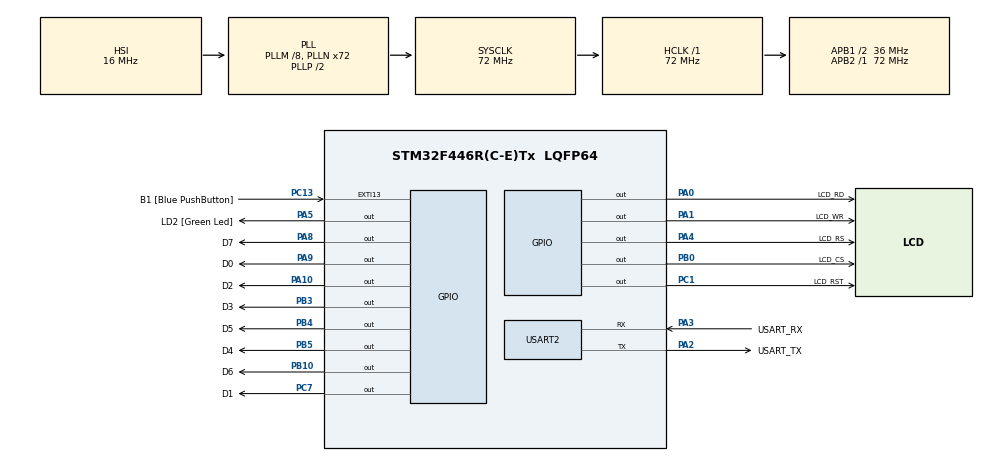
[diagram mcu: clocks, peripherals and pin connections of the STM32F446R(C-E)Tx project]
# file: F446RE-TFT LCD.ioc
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Mcu.Family=STM32F4
Mcu.Name=STM32F446R(C-E)Tx
Mcu.Package=LQFP64
NVIC.PriorityGroup=NVIC_PRIORITYGROUP_0
PA0-WKUP.GPIO_Label=LCD_RD
PA0-WKUP.Signal=GPIO_Output
PA1.GPIO_Label=LCD_WR
PA1.Signal=GPIO_Output
PA10.GPIO_Label=D2
PA10.Signal=GPIO_Output
PA13.GPIO_Label=TMS
PA13.Mode=Serial_Wire
PA13.Signal=SYS_JTMS-SWDIO
PA14.GPIO_Label=TCK
PA14.Mode=Serial_Wire
PA14.Signal=SYS_JTCK-SWCLK
PA2.GPIO_Label=USART_TX
PA2.Mode=Asynchronous
PA2.Signal=USART2_TX
PA3.GPIO_Label=USART_RX
PA3.Mode=Asynchronous
PA3.Signal=USART2_RX
PA4.GPIO_Label=LCD_RS
PA4.Signal=GPIO_Output
PA5.GPIO_Label=LD2 [Green Led]
PA5.Signal=GPIO_Output
PA8.GPIO_Label=D7
PA8.Signal=GPIO_Output
PA9.GPIO_Label=D0
PA9.Signal=GPIO_Output
PB0.GPIO_Label=LCD_CS
PB0.Signal=GPIO_Output
PB10.GPIO_Label=D6
PB10.Signal=GPIO_Output
PB3.GPIO_Label=D3
PB3.Signal=GPIO_Output
PB4.GPIO_Label=D5
PB4.Signal=GPIO_Output
PB5.GPIO_Label=D4
PB5.Signal=GPIO_Output
PC1.GPIO_Label=LCD_RST
PC1.Signal=GPIO_Output
PC13.GPIO_Label=B1 [Blue PushButton]
PC13.GPIO_ModeDefaultEXTI=GPIO_MODE_IT_FALLING
PC13.Signal=GPXTI13
PC14-OSC32_IN.Mode=LSE-External-Oscillator
PC14-OSC32_IN.Signal=RCC_OSC32_IN
PC15-OSC32_OUT.Mode=LSE-External-Oscillator
PC15-OSC32_OUT.Signal=RCC_OSC32_OUT
PC7.GPIO_Label=D1
PC7.Signal=GPIO_Output
PH0-OSC_IN.Mode=HSE-External-Oscillator
PH0-OSC_IN.Signal=RCC_OSC_IN
PH1-OSC_OUT.Mode=HSE-External-Oscillator
PH1-OSC_OUT.Signal=RCC_OSC_OUT
ProjectManager.HeapSize=0x200
ProjectManager.StackSize=0x400
ProjectManager.TargetToolchain=STM32CubeIDE
RCC.48MHZClocksFreq_Value=84000000
RCC.AHBFreq_Value=72000000
RCC.APB1CLKDivider=RCC_HCLK_DIV2
RCC.APB1Freq_Value=36000000
RCC.APB1TimFreq_Value=72000000
RCC.APB2Freq_Value=72000000
RCC.APB2TimFreq_Value=72000000
RCC.CortexFreq_Value=72000000
RCC.FLatency-AdvancedSettings=FLASH_LATENCY_2
RCC.HCLKFreq_Value=72000000
RCC.HSE_VALUE=8000000
RCC.HSI_VALUE=16000000
RCC.PLLM=8
RCC.PLLN=72
RCC.SYSCLKFreq_VALUE=72000000
RCC.SYSCLKSource=RCC_SYSCLKSOURCE_PLLCLK
RCC.USBFreq_Value=72000000
RCC.VCOOutputFreq_Value=144000000
TIM1.Prescaler=72-1
USART2.VirtualMode=VM_ASYNC
VP_TIM1_VS_ClockSourceINT.Mode=Internal
board=NUCLEO-F446RE

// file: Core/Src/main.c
/* USER CODE BEGIN Header */
/**
  ******************************************************************************
  * @file           : main.c
  * @brief          : Main program body
  ******************************************************************************
  * @attention
  *
  * <h2><center>&copy; Copyright (c) 2020 STMicroelectronics.
  * All rights reserved.</center></h2>
  *
  * This software component is licensed by ST under BSD 3-Clause license,
  * the "License"; You may not use this file except in compliance with the
  * License. You may obtain a copy of the License at:
  *                        opensource.org/licenses/BSD-3-Clause
  *
  ******************************************************************************
  */
/* USER CODE END Header */
#include "main.h"

/* USER CODE BEGIN Includes */
#include "fonts.h"
#include "tft.h"
#include "functions.h"
#include "user_setting.h"
/* USER CODE END Includes */

TIM_HandleTypeDef htim1;

UART_HandleTypeDef huart2;

/* USER CODE BEGIN PV */
uint16_t ID=0;
/* USER CODE END PV */

void SystemClock_Config(void);
static void MX_GPIO_Init(void);
static void MX_TIM1_Init(void);
static void MX_USART2_UART_Init(void);
/* USER CODE BEGIN PFP */
void delay (uint32_t time)
{
	/* change your code here for the delay in microseconds */
	__HAL_TIM_SET_COUNTER(&htim1, 0);
	while ((__HAL_TIM_GET_COUNTER(&htim1))<time);
}
/* USER CODE END PFP */

int main(void)
{

  /* MCU Configuration--------------------------------------------------------*/

  /* Reset of all peripherals, Initializes the Flash interface and the Systick. */
  HAL_Init();

  /* Configure the system clock */
  SystemClock_Config();

  /* Initialize all configured peripherals */
  MX_GPIO_Init();
  MX_TIM1_Init();
  MX_USART2_UART_Init();
  /* USER CODE BEGIN 2 */
  HAL_TIM_Base_Start(&htim1);
  ID=readID();
  HAL_Delay(100);
  tft_init(ID);
  setRotation(0);
  fillScreen(BLACK);

  testFillScreen();
  testLines(CYAN);
  testFastLines(RED, BLUE);
  testFilledCircles(10, YELLOW);
  testCircles(10,WHITE);

  fillScreen(BLACK);
  setRotation(0);
  printnewtstr(100, WHITE, &mono12x7bold, 1, "HEY NIGGER");
  /* USER CODE END 2 */

  /* Infinite loop */
  while (1)
  {

    /* USER CODE BEGIN 3 */
	  scrollup(100);
  }
  /* USER CODE END 3 */
}

void SystemClock_Config(void)
{
  RCC_OscInitTypeDef RCC_OscInitStruct = {0};
  RCC_ClkInitTypeDef RCC_ClkInitStruct = {0};

  /** Configure the main internal regulator output voltage
  */
  __HAL_RCC_PWR_CLK_ENABLE();
  __HAL_PWR_VOLTAGESCALING_CONFIG(PWR_REGULATOR_VOLTAGE_SCALE3);
  /** Initializes the RCC Oscillators according to the specified parameters
  * in the RCC_OscInitTypeDef structure.
  */
  RCC_OscInitStruct.OscillatorType = RCC_OSCILLATORTYPE_HSI;
  RCC_OscInitStruct.HSIState = RCC_HSI_ON;
  RCC_OscInitStruct.HSICalibrationValue = RCC_HSICALIBRATION_DEFAULT;
  RCC_OscInitStruct.PLL.PLLState = RCC_PLL_ON;
  RCC_OscInitStruct.PLL.PLLSource = RCC_PLLSOURCE_HSI;
  RCC_OscInitStruct.PLL.PLLM = 8;
  RCC_OscInitStruct.PLL.PLLN = 72;
  RCC_OscInitStruct.PLL.PLLP = RCC_PLLP_DIV2;
  RCC_OscInitStruct.PLL.PLLQ = 2;
  RCC_OscInitStruct.PLL.PLLR = 2;
  if (HAL_RCC_OscConfig(&RCC_OscInitStruct) != HAL_OK)
  {
    Error_Handler();
  }
  /** Initializes the CPU, AHB and APB buses clocks
  */
  RCC_ClkInitStruct.ClockType = RCC_CLOCKTYPE_HCLK|RCC_CLOCKTYPE_SYSCLK
                              |RCC_CLOCKTYPE_PCLK1|RCC_CLOCKTYPE_PCLK2;
  RCC_ClkInitStruct.SYSCLKSource = RCC_SYSCLKSOURCE_PLLCLK;
  RCC_ClkInitStruct.AHBCLKDivider = RCC_SYSCLK_DIV1;
  RCC_ClkInitStruct.APB1CLKDivider = RCC_HCLK_DIV2;
  RCC_ClkInitStruct.APB2CLKDivider = RCC_HCLK_DIV1;

  if (HAL_RCC_ClockConfig(&RCC_ClkInitStruct, FLASH_LATENCY_2) != HAL_OK)
  {
    Error_Handler();
  }
}

static void MX_TIM1_Init(void)
{

  TIM_ClockConfigTypeDef sClockSourceConfig = {0};
  TIM_MasterConfigTypeDef sMasterConfig = {0};

  htim1.Instance = TIM1;
  htim1.Init.Prescaler = 72-1;
  htim1.Init.CounterMode = TIM_COUNTERMODE_UP;
  htim1.Init.Period = 65535;
  htim1.Init.ClockDivision = TIM_CLOCKDIVISION_DIV1;
  htim1.Init.RepetitionCounter = 0;
  htim1.Init.AutoReloadPreload = TIM_AUTORELOAD_PRELOAD_DISABLE;
  if (HAL_TIM_Base_Init(&htim1) != HAL_OK)
  {
    Error_Handler();
  }
  sClockSourceConfig.ClockSource = TIM_CLOCKSOURCE_INTERNAL;
  if (HAL_TIM_ConfigClockSource(&htim1, &sClockSourceConfig) != HAL_OK)
  {
    Error_Handler();
  }
  sMasterConfig.MasterOutputTrigger = TIM_TRGO_RESET;
  sMasterConfig.MasterSlaveMode = TIM_MASTERSLAVEMODE_DISABLE;
  if (HAL_TIMEx_MasterConfigSynchronization(&htim1, &sMasterConfig) != HAL_OK)
  {
    Error_Handler();
  }

}

static void MX_USART2_UART_Init(void)
{

  huart2.Instance = USART2;
  huart2.Init.BaudRate = 115200;
  huart2.Init.WordLength = UART_WORDLENGTH_8B;
  huart2.Init.StopBits = UART_STOPBITS_1;
  huart2.Init.Parity = UART_PARITY_NONE;
  huart2.Init.Mode = UART_MODE_TX_RX;
  huart2.Init.HwFlowCtl = UART_HWCONTROL_NONE;
  huart2.Init.OverSampling = UART_OVERSAMPLING_16;
  if (HAL_UART_Init(&huart2) != HAL_OK)
  {
    Error_Handler();
  }

}

static void MX_GPIO_Init(void)
{
  GPIO_InitTypeDef GPIO_InitStruct = {0};

  /* GPIO Ports Clock Enable */
  __HAL_RCC_GPIOC_CLK_ENABLE();
  __HAL_RCC_GPIOH_CLK_ENABLE();
  __HAL_RCC_GPIOA_CLK_ENABLE();
  __HAL_RCC_GPIOB_CLK_ENABLE();

  /*Configure GPIO pin Output Level */
  HAL_GPIO_WritePin(GPIOC, LCD_RST_Pin|D1_Pin, GPIO_PIN_RESET);

  /*Configure GPIO pin Output Level */
  HAL_GPIO_WritePin(GPIOA, LCD_RD_Pin|LCD_WR_Pin|LCD_RS_Pin|LD2_Pin
                          |D7_Pin|D0_Pin|D2_Pin, GPIO_PIN_RESET);

  /*Configure GPIO pin Output Level */
  HAL_GPIO_WritePin(GPIOB, LCD_CS_Pin|D6_Pin|D3_Pin|D5_Pin
                          |D4_Pin, GPIO_PIN_RESET);

  /*Configure GPIO pin : B1_Pin */
  GPIO_InitStruct.Pin = B1_Pin;
  GPIO_InitStruct.Mode = GPIO_MODE_IT_FALLING;
  GPIO_InitStruct.Pull = GPIO_NOPULL;
  HAL_GPIO_Init(B1_GPIO_Port, &GPIO_InitStruct);

  /*Configure GPIO pins : LCD_RST_Pin D1_Pin */
  GPIO_InitStruct.Pin = LCD_RST_Pin|D1_Pin;
  GPIO_InitStruct.Mode = GPIO_MODE_OUTPUT_PP;
  GPIO_InitStruct.Pull = GPIO_NOPULL;
  GPIO_InitStruct.Speed = GPIO_SPEED_FREQ_LOW;
  HAL_GPIO_Init(GPIOC, &GPIO_InitStruct);

  /*Configure GPIO pins : LCD_RD_Pin LCD_WR_Pin LCD_RS_Pin LD2_Pin
                           D7_Pin D0_Pin D2_Pin */
  GPIO_InitStruct.Pin = LCD_RD_Pin|LCD_WR_Pin|LCD_RS_Pin|LD2_Pin
                          |D7_Pin|D0_Pin|D2_Pin;
  GPIO_InitStruct.Mode = GPIO_MODE_OUTPUT_PP;
  GPIO_InitStruct.Pull = GPIO_NOPULL;
  GPIO_InitStruct.Speed = GPIO_SPEED_FREQ_LOW;
  HAL_GPIO_Init(GPIOA, &GPIO_InitStruct);

  /*Configure GPIO pins : LCD_CS_Pin D6_Pin D3_Pin D5_Pin
                           D4_Pin */
  GPIO_InitStruct.Pin = LCD_CS_Pin|D6_Pin|D3_Pin|D5_Pin
                          |D4_Pin;
  GPIO_InitStruct.Mode = GPIO_MODE_OUTPUT_PP;
  GPIO_InitStruct.Pull = GPIO_NOPULL;
  GPIO_InitStruct.Speed = GPIO_SPEED_FREQ_LOW;
  HAL_GPIO_Init(GPIOB, &GPIO_InitStruct);

}

void Error_Handler(void)
{
}

/************************ (C) COPYRIGHT STMicroelectronics *****END OF FILE****/
